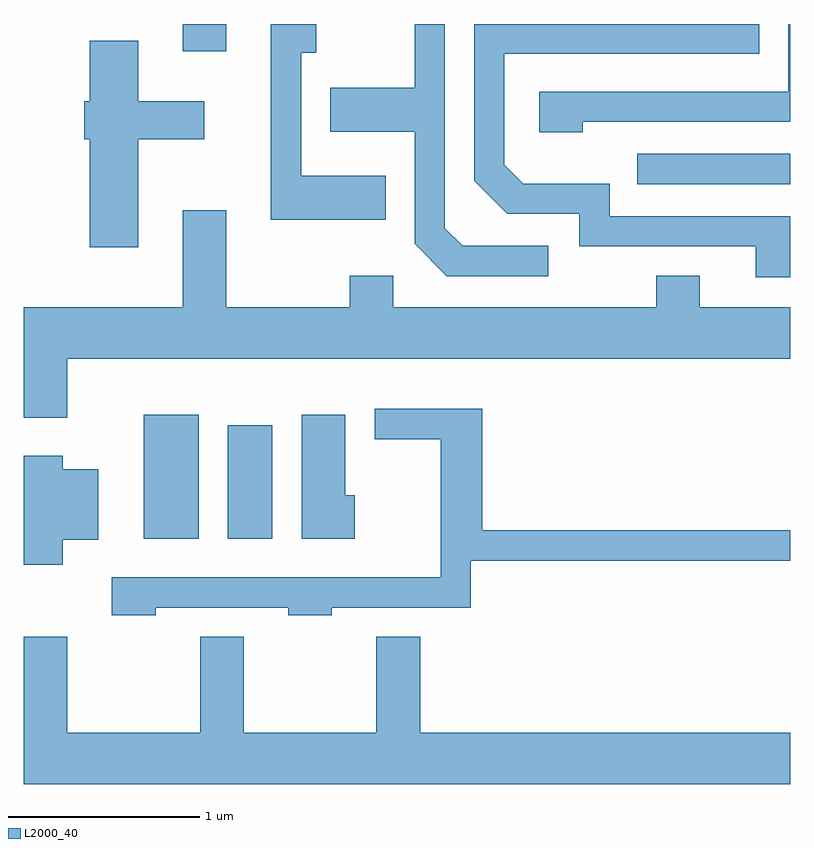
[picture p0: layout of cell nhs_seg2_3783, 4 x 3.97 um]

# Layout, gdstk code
import gdstk
lib = gdstk.Library(unit=1e-6, precision=1e-09)
def R(c, l, rs):  # rectangles x0, y0, x1, y1
    for r in rs: c.add(gdstk.rectangle(r[:2], r[2:], *l))
def P(c, l, *ps):  # polygons
    for p in ps: c.add(gdstk.Polygon(p, *l))
L2000_40 = (2000, 40)

nhs_seg2_3783 = lib.new_cell('nhs_seg2_3783')
R(nhs_seg2_3783, L2000_40, [(296.236,1085.116,296.524,1085.764), (296.676,1085.116,296.909,1085.709), (298.813,1086.966,299.611,1087.124), (296.441,1087.661,296.669,1087.802)])
P(nhs_seg2_3783, L2000_40, [(299.611,1086.799),(298.669,1086.799),(298.669,1086.969),(298.217,1086.969),(298.119,1087.067),(298.119,1087.646),(299.449,1087.646),(299.449,1087.802),(297.961,1087.802),(297.961,1086.984),(298.134,1086.811),(298.511,1086.811),(298.511,1086.641),(299.431,1086.641),(299.431,1086.481),(299.611,1086.481)],
  [(297.499,1087.009),(297.059,1087.009),(297.059,1087.651),(297.138,1087.651),(297.138,1087.802),(296.901,1087.802),(296.901,1086.781),(297.499,1086.781)],
  [(298.529,1087.291),(299.611,1087.291),(299.611,1087.802),(299.601,1087.802),(299.601,1087.449),(298.301,1087.449),(298.301,1087.236),(298.529,1087.236)],
  [(298.348,1086.644),(297.902,1086.644),(297.809,1086.737),(297.809,1087.802),(297.651,1087.802),(297.651,1087.469),(297.211,1087.469),(297.211,1087.241),(297.651,1087.241),(297.651,1086.654),(297.819,1086.486),(298.348,1086.486)],
  [(296.209,1087.201),(296.554,1087.201),(296.554,1087.399),(296.209,1087.399),(296.209,1087.714),(295.956,1087.714),(295.956,1087.399),(295.926,1087.399),(295.926,1087.201),(295.956,1087.201),(295.956,1086.636),(296.209,1086.636)],
  [(295.839,1086.056),(299.611,1086.056),(299.611,1086.324),(299.139,1086.324),(299.139,1086.489),(298.911,1086.489),(298.911,1086.324),(297.539,1086.324),(297.539,1086.489),(297.311,1086.489),(297.311,1086.324),(296.669,1086.324),(296.669,1086.829),(296.441,1086.829),(296.441,1086.324),(295.611,1086.324),(295.611,1085.746),(295.839,1085.746)],
  [(296.299,1084.756),(296.991,1084.756),(296.991,1084.716),(297.219,1084.716),(297.219,1084.756),(297.944,1084.756),(297.944,1085.001),(299.611,1085.001),(299.611,1085.159),(298.004,1085.159),(298.004,1085.794),(297.443,1085.794),(297.443,1085.636),(297.786,1085.636),(297.786,1084.914),(296.071,1084.914),(296.071,1084.716),(296.299,1084.716)],
  [(297.339,1085.344),(297.289,1085.344),(297.289,1085.764),(297.061,1085.764),(297.061,1085.116),(297.339,1085.116)],
  [(295.814,1085.111),(295.999,1085.111),(295.999,1085.479),(295.814,1085.479),(295.814,1085.549),(295.611,1085.549),(295.611,1084.981),(295.814,1084.981)],
  [(299.611,1084.104),(297.679,1084.104),(297.679,1084.604),(297.451,1084.604),(297.451,1084.104),(296.759,1084.104),(296.759,1084.604),(296.531,1084.604),(296.531,1084.104),(295.839,1084.104),(295.839,1084.604),(295.611,1084.604),(295.611,1083.836),(299.611,1083.836)])

lib.write_gds('nhs_seg2_3783.gds')
